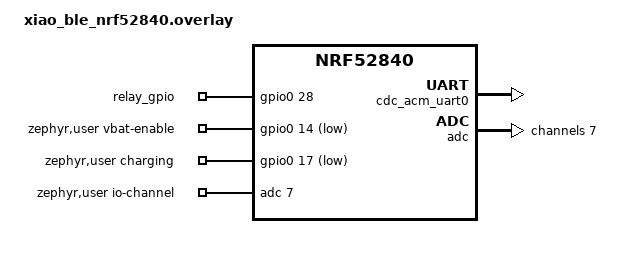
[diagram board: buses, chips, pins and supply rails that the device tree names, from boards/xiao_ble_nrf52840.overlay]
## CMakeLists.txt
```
#
# Copyright (c) 2021 Nordic Semiconductor ASA
#
# SPDX-License-Identifier: LicenseRef-Nordic-5-Clause
#

cmake_minimum_required(VERSION 3.20.0)

# Key shared with the deadbolt, kept out of git: door_link_key.conf holds one line,
# CONFIG_DOOR_LINK_KEY="<64 hex digits>" (README.md, "Buzz + door").
set(DOOR_LINK_KEY_CONF ${CMAKE_CURRENT_LIST_DIR}/door_link_key.conf)
if(NOT EXISTS ${DOOR_LINK_KEY_CONF})
  message(FATAL_ERROR "Missing ${DOOR_LINK_KEY_CONF}: create it with "
    "CONFIG_DOOR_LINK_KEY=\"<64 hex digits>\", the same key as the deadbolt")
endif()
list(APPEND EXTRA_CONF_FILE ${DOOR_LINK_KEY_CONF})

find_package(Zephyr REQUIRED HINTS $ENV{ZEPHYR_BASE})
project(lock)

# Enable GNU STD support.
include(${ZEPHYR_CONNECTEDHOMEIP_MODULE_DIR}/config/nrfconnect/app/enable-gnu-std.cmake)

# NORDIC SDK APP START

# Include all source files that are located in the Matter common directory.
include(${ZEPHYR_NRF_MODULE_DIR}/samples/matter/common/cmake/source_common.cmake)

# Include Data Model utils
include(${ZEPHYR_NRF_MODULE_DIR}/samples/matter/common/cmake/data_model.cmake)

include(${ZEPHYR_NRF_MODULE_DIR}/samples/matter/common/cmake/zap_helpers.cmake)
ncs_get_zap_parent_dir(ZAP_PARENT_DIR)

target_include_directories(app PRIVATE
    src
    ${ZAP_PARENT_DIR}
)

SET(access_srcs src/access/access_data_types.cpp
              src/access/access_manager_credentials.cpp
              src/access/access_manager_users.cpp
              src/access/access_manager.cpp
              src/access/access_storage.cpp
              )

if(CONFIG_LOCK_SCHEDULES)
    LIST(APPEND access_srcs src/access/access_manager_schedules.cpp)
endif()

target_sources(app PRIVATE
    src/app_task.cpp
    src/battery.cpp
    src/bolt_lock_manager.cpp
    src/door_link.cpp
    src/main.cpp
    src/zcl_callbacks.cpp
    ${access_srcs}
)

if(CONFIG_THREAD_WIFI_SWITCHING)
    target_sources(app PRIVATE
        src/thread_wifi_switch.cpp
    )
endif()

# Do not treat warnings as errors while the variable may be uninitialized for this sample data model.
# In the door-lock-server implementation, there is a warning that the C++ "optional"
# variable may be uninitialized, but actually, it is wrongly interpreted by the Zephyr toolchain.
target_compile_options(matter-data-model PRIVATE -Wno-error=maybe-uninitialized)

ncs_configure_data_model()

# NORDIC SDK APP END
```

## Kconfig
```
#
# Copyright (c) 2021 Nordic Semiconductor
#
# SPDX-License-Identifier: LicenseRef-Nordic-5-Clause
#

mainmenu "Matter Lock sample application"

config DOOR_LINK_KEY
	string "Key shared with the deadbolt, 64 hex digits"
	help
	  Signs the "Buzz + door" message. Set in door_link_key.conf, which stays out of git.

config DOOR_LINK_COUNTER_MIN
	int "Lowest message counter"
	default 0
	help
	  The deadbolt refuses a counter it has already seen. If the buzzer's settings are ever
	  erased, set this above the last counter sent.

config LOCK_MAX_NUM_USERS
	int "Maximum number of users supported by the lock"
	default 10

config LOCK_MAX_NUM_CREDENTIALS_PER_USER
	int "Maximum total number of credentials per one user supported by the lock"
	default 4

config LOCK_MAX_NUM_CREDENTIALS_PER_TYPE
	int "Maximum number of credentials of given type supported by the lock"
	default 15

config LOCK_MAX_CREDENTIAL_LENGTH
	int "Maximum length of the single credential supported by the lock"
	default 10

config LOCK_PASS_CREDENTIALS_TO_SET_LOCK_STATE
	bool "Pass used credentials when setting the lock state"
	help
	  This option should stay disabled until TC-DRLK-2.3 is fixed.
	  Related issue: https://github.com/project-chip/connectedhomeip/issues/38222

config LOCK_SCHEDULES
	bool "Support for WeekDay, YearDay and Holiday schedules in lock"
	help
	  This option adds support for an optional Timed Schedule Access Lock feature.
	  You can use Week Day, Year Day and Holiday schedules to restrict access for a
	  specific user for a defined time window. For example, use it to
	  give the user access only for three days in week.

if LOCK_SCHEDULES

config LOCK_MAX_WEEKDAY_SCHEDULES_PER_USER
	int "Maximum number of WeekDay schedules per one user supported by the lock"
	default 5

config LOCK_MAX_YEARDAY_SCHEDULES_PER_USER
	int "Maximum number of YearDay schedules per one user supported by the lock"
	default 5

config LOCK_MAX_HOLIDAY_SCHEDULES
	int "Maximum number of Holiday schedules supported by the lock"
	default 5

endif

config LOCK_ENABLE_DEBUG
	bool "Enable debug features to print users and credentials"
	depends on SHELL
	help
	  Debug features allows to checking and printing current users, their state, and
	  associated credentials. Use these with shell commands combinations to read saved credentials
	  or users, and manage them (add, clear, read).

if LOCK_ENABLE_DEBUG

config LOCK_PRINT_STORAGE_STATUS
	bool "Print storage status after each store call"
	help
	  Debug feature to print the debug-level log that contains information of the entry being stored
	  to persistent storage and how many bytes are left to store the new entry. It can be used to verify
	  whether credential, schedule or user entries are written properly to persistent storage.
	  This option should be disabled in production firmware version.

# This should be determined based on the maximum possible command length that depends on the LOCK_MAX_CREDENTIAL_LENGTH
config SHELL_CMD_BUFF_SIZE
	default 300

endif

# Sample configuration used for Thread networking
if OPENTHREAD

choice OPENTHREAD_NORDIC_LIBRARY_CONFIGURATION
	default OPENTHREAD_NORDIC_LIBRARY_MTD
endchoice

choice OPENTHREAD_DEVICE_TYPE
	default OPENTHREAD_MTD
endchoice

config CHIP_ENABLE_ICD_SUPPORT
	default y

# Reduce Thread TX output power to 0 dBm for SED device
config OPENTHREAD_DEFAULT_TX_POWER
	int
	default 0

endif # OPENTHREAD

config NCS_SAMPLE_MATTER_PERSISTENT_STORAGE
	default y

# PSA SSF Crypto Client is not ready for the secure storage backend
if !PSA_SSF_CRYPTO_CLIENT

config NCS_SAMPLE_MATTER_SECURE_STORAGE_BACKEND
	default y

config NCS_SAMPLE_MATTER_SETTINGS_STORAGE_BACKEND
	default n

endif

# Increase the storage capacity if the schedules are enabled with secure storage
if LOCK_SCHEDULES && NCS_SAMPLE_MATTER_SECURE_STORAGE_BACKEND

config NCS_SAMPLE_MATTER_SECURE_STORAGE_MAX_ENTRY_NUMBER
	default 128

config TRUSTED_STORAGE_BACKEND_AEAD_MAX_DATA_SIZE
	default 3072

config OPENTHREAD_THREAD_STACK_SIZE
	default 7168

config CHIP_TASK_STACK_SIZE
	default 10240

config MAIN_STACK_SIZE
	default 7168

endif

source "${ZEPHYR_CONNECTEDHOMEIP_MODULE_DIR}/config/nrfconnect/chip-module/Kconfig.features"
source "${ZEPHYR_CONNECTEDHOMEIP_MODULE_DIR}/config/nrfconnect/chip-module/Kconfig.defaults"
source "${ZEPHYR_NRF_MODULE_DIR}/samples/matter/common/src/Kconfig"
source "Kconfig.zephyr"
```

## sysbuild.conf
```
SB_CONFIG_MATTER=y
SB_CONFIG_BOOTLOADER_MCUBOOT=n
SB_CONFIG_MATTER_FACTORY_DATA_GENERATE=y
SB_CONFIG_MATTER_OTA=n
```

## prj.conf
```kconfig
#
# Copyright (c) 2022 Nordic Semiconductor ASA
#
# SPDX-License-Identifier: LicenseRef-Nordic-5-Clause
#

# Enable CHIP
CONFIG_CHIP=y
CONFIG_CHIP_PROJECT_CONFIG="src/chip_project_config.h"

# Configure ZAP file name
CONFIG_NCS_SAMPLE_MATTER_ZAP_FILE_PATH="${APPLICATION_CONFIG_DIR}/src/default_zap/lock.zap"

# 32774 == 0x8006 (example lock-app). Registered as a Lock in the Google Home Developer
# Console (needed for test VIDs once the account has a console project).
CONFIG_CHIP_DEVICE_PRODUCT_ID=32774
# Own serial: the default (11223344556677889900) matched the deadbolt lock. Not enough on its
# own: Google Home still merged the two while both used 0x8006 and its stock test DAC, so the
# deadbolt moved to another PID.
CONFIG_CHIP_DEVICE_SERIAL_NUMBER="BUZZER0001"
CONFIG_STD_CPP17=y

# Enable Matter extended announcement and increase duration to 1 hour.
CONFIG_CHIP_BLE_EXT_ADVERTISING=y
CONFIG_CHIP_BLE_ADVERTISING_DURATION=60

# GPIO
CONFIG_GPIO=y

# Battery voltage (src/battery.cpp)
CONFIG_ADC=y
CONFIG_DK_LIBRARY=n

# Bluetooth Low Energy configuration
CONFIG_BT_DEVICE_NAME="MatterLock"

# Suspend devices when the CPU goes into sleep
CONFIG_PM_DEVICE=y

# Other settings
CONFIG_THREAD_NAME=y
CONFIG_MPU_STACK_GUARD=y
CONFIG_RESET_ON_FATAL_ERROR=n
CONFIG_CHIP_LIB_SHELL=y
CONFIG_NCS_SAMPLE_MATTER_TEST_SHELL=y

# Reduce application size
CONFIG_USE_SEGGER_RTT=n
CONFIG_MATTER_LOG_LEVEL_INF=y
CONFIG_CHIP_APP_LOG_LEVEL=3

# Disable unused features
CONFIG_CHIP_FACTORY_DATA=y
CONFIG_CHIP_FACTORY_DATA_BUILD=y
CONFIG_CHIP_NFC_ONBOARDING_PAYLOAD=n
CONFIG_CHIP_BOOTLOADER_NONE=y
CONFIG_CHIP_BLE_EXT_ADVERTISING=n
CONFIG_CHIP_BLE_ADVERTISING_DURATION=15
CONFIG_CHIP_TASK_STACK_SIZE=8192

CONFIG_CHIP_ENABLE_PAIRING_AUTOSTART=y

CONFIG_CHIP_ICD_SLOW_POLL_INTERVAL=1000
CONFIG_CHIP_ICD_FAST_POLLING_INTERVAL=200
CONFIG_CHIP_ICD_ACTIVE_MODE_DURATION=1000
CONFIG_CHIP_ICD_IDLE_MODE_DURATION=300
```

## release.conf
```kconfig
# Added on top of prj.conf for the door-mounted build.
# The debug build stops on a crash so the fault can be read; this one has to come back by itself.
CONFIG_RESET_ON_FATAL_ERROR=y

# Hardware watchdog, fed by the Main and Matter threads.
CONFIG_NCS_SAMPLE_MATTER_WATCHDOG=y
```

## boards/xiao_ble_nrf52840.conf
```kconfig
CONFIG_BUILD_OUTPUT_UF2=y
CONFIG_FLASH=y
CONFIG_GPIO=y
```

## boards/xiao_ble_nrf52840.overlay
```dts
#include <zephyr/dt-bindings/adc/adc.h>
#include <zephyr/dt-bindings/adc/nrf-saadc.h>

/ {
    chosen {
        zephyr,console = &cdc_acm_uart0;
        zephyr,shell-uart = &cdc_acm_uart0;
    };

    buttons {
        compatible = "gpio-keys";
    };

    relay_out: relay-output {
        compatible = "gpio-leds";
        relay_gpio: relay_gpio {
            gpios = <&gpio0 28 GPIO_ACTIVE_HIGH>;
        };
    };
};

&zephyr_udc0 {
    cdc_acm_uart0: cdc_acm_uart0 {
        compatible = "zephyr,cdc-acm-uart";
    };
};

/* Unused (console and shell are on USB CDC), but the board enables it: with the shell's
 * interrupt-driven UART mode its driver starts the receiver at boot and nothing stops it,
 * keeping the HF clock on (~0.5-1 mA; a 620 mAh charge lasted about a month).
 */
&uart0 {
    status = "disabled";
};
/* Battery voltage: VBAT -> 1M -> P0.31 (AIN7) -> 510k -> P0.14. P0.14 is held low for good (the
 * divider then draws ~2.7 uA): high or floating, it would put VBAT on P0.31 through the 1M.
 * P0.17 is the charger's CHG output, low while charging.
 */
/ {
    zephyr,user {
        io-channels = <&adc 7>;
        vbat-enable-gpios = <&gpio0 14 GPIO_ACTIVE_LOW>;
        charging-gpios = <&gpio0 17 (GPIO_ACTIVE_LOW | GPIO_PULL_UP)>;
    };
};

&adc {
    #address-cells = <1>;
    #size-cells = <0>;

    channel@7 {
        reg = <7>;
        zephyr,gain = "ADC_GAIN_1_6";
        zephyr,reference = "ADC_REF_INTERNAL";
        /* The divider's 340k source impedance needs the 40 us acquisition time */
        zephyr,acquisition-time = <ADC_ACQ_TIME(ADC_ACQ_TIME_MICROSECONDS, 40)>;
        zephyr,input-positive = <NRF_SAADC_AIN7>;
        zephyr,resolution = <12>;
        zephyr,oversampling = <4>;
    };
};
```

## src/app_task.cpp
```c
/*
 * Copyright (c) 2021 Nordic Semiconductor ASA
 *
 * SPDX-License-Identifier: LicenseRef-Nordic-5-Clause
 */

#include "app_task.h"
#include "battery.h"
#include "bolt_lock_manager.h"
#include "door_link.h"

#include "app/matter_init.h"
#include "app/task_executor.h"

#ifdef CONFIG_CHIP_NUS
#include "bt_nus/bt_nus_service.h"
#endif

#include <app-common/zap-generated/attributes/Accessors.h>
#include <app/clusters/door-lock-server/door-lock-server.h>
#include <app/clusters/identify-server/identify-server.h>
#include <platform/CHIPDeviceLayer.h>
#include <setup_payload/OnboardingCodesUtil.h>

#include <zephyr/drivers/gpio.h>
#include <zephyr/kernel.h>
#include <zephyr/logging/log.h>

LOG_MODULE_DECLARE(app, CONFIG_CHIP_APP_LOG_LEVEL);

static const struct gpio_dt_spec sRelayGpio = GPIO_DT_SPEC_GET(DT_NODELABEL(relay_gpio), gpios);
static struct k_work_delayable sRelayOffWork;

static void RelayOffHandler(struct k_work *)
{
	gpio_pin_set_dt(&sRelayGpio, 0);
	LOG_INF("Relay off");
	BoltLockMgr().Lock(BoltLockManager::OperationSource::kUnspecified);
}

using namespace ::chip;
using namespace ::chip::app;
using namespace ::chip::DeviceLayer;

namespace
{
constexpr EndpointId kLockEndpointId = BoltLockManager::kBuzzEndpointId;

#ifdef CONFIG_CHIP_NUS
constexpr uint16_t kAdvertisingIntervalMin = 400;
constexpr uint16_t kAdvertisingIntervalMax = 500;
constexpr uint8_t kLockNUSPriority = 2;
#endif

#ifndef CONFIG_CHIP_FACTORY_RESET_ERASE_SETTINGS
void AppFactoryResetHandler(const ChipDeviceEvent *event, intptr_t /* unused */)
{
	switch (event->Type) {
	case DeviceEventType::kFactoryReset:
		BoltLockMgr().FactoryReset();
		break;
	default:
		break;
	}
}
#endif

} /* namespace */

Identify sIdentify = { kLockEndpointId, AppTask::IdentifyStartHandler, AppTask::IdentifyStopHandler,
		       Clusters::Identify::IdentifyTypeEnum::kVisibleIndicator };
Identify sIdentifyBuzzDoor = { BoltLockManager::kBuzzDoorEndpointId, AppTask::IdentifyStartHandler,
			       AppTask::IdentifyStopHandler, Clusters::Identify::IdentifyTypeEnum::kVisibleIndicator };

void AppTask::IdentifyStartHandler(Identify *)
{
	/* No LED available */
}

void AppTask::IdentifyStopHandler(Identify *)
{
	/* No LED available */
}

void AppTask::LockStateChanged(const BoltLockManager::StateData &stateData)
{
	switch (stateData.mState) {
	case BoltLockManager::State::kLockingInitiated:
		LOG_INF("Lock action initiated");
#ifdef CONFIG_CHIP_NUS
		Nrf::GetNUSService().SendData("locking", sizeof("locking"));
#endif
		break;
	case BoltLockManager::State::kLockingCompleted:
		LOG_INF("Lock action completed");
#ifdef CONFIG_CHIP_NUS
		Nrf::GetNUSService().SendData("locked", sizeof("locked"));
#endif
		break;
	case BoltLockManager::State::kUnlockingInitiated:
		LOG_INF("Unlock action initiated");
		if (stateData.mEndpoint == BoltLockManager::kBuzzDoorEndpointId) {
			DoorLink::SendUnlock();
		}
#ifdef CONFIG_CHIP_NUS
		Nrf::GetNUSService().SendData("unlocking", sizeof("unlocking"));
#endif
		break;
	case BoltLockManager::State::kUnlockingCompleted:
		LOG_INF("Unlock action completed");
		gpio_pin_set_dt(&sRelayGpio, 1);
		LOG_INF("Relay on");
		Battery::NoteLoad();
		k_work_schedule(&sRelayOffWork, K_SECONDS(2));
#ifdef CONFIG_CHIP_NUS
		Nrf::GetNUSService().SendData("unlocked", sizeof("unlocked"));
#endif
		break;
	}

	/* Handle changing attribute state in the application */
	Instance().UpdateClusterState(stateData);
}

void AppTask::UpdateClusterState(const BoltLockManager::StateData &stateData)
{
	BoltLockManager::StateData *stateDataCopy = Platform::New<BoltLockManager::StateData>(stateData);

	if (stateDataCopy == nullptr) {
		LOG_ERR("Failed to allocate memory for BoltLockManager::StateData");
		return;
	}

	CHIP_ERROR err = SystemLayer().ScheduleLambda([stateDataCopy]() {
		UpdateClusterStateHandler(*stateDataCopy);
		Platform::Delete(stateDataCopy);
	});

	if (err != CHIP_NO_ERROR) {
		LOG_ERR("Failed to schedule lambda: %" CHIP_ERROR_FORMAT, err.Format());
		Platform::Delete(stateDataCopy);
	}
}

void AppTask::UpdateClusterStateHandler(const BoltLockManager::StateData &stateData)
{
	using namespace chip::app::Clusters::DoorLock::Attributes;

	DlLockState newLockState;

	switch (stateData.mState) {
	case BoltLockManager::State::kLockingCompleted:
		newLockState = DlLockState::kLocked;
		break;
	case BoltLockManager::State::kUnlockingCompleted:
		newLockState = DlLockState::kUnlocked;
		break;
	default:
		newLockState = DlLockState::kNotFullyLocked;
		break;
	}

	Nullable<DlLockState> currentLockState;
	LockState::Get(stateData.mEndpoint, currentLockState);

	if (currentLockState.IsNull()) {
		LockState::Set(stateData.mEndpoint, newLockState);
	} else {
		LOG_INF("Updating LockState attribute");

		Nullable<uint16_t> userId;
		Nullable<List<const LockOpCredentials>> credentials;
#ifdef CONFIG_LOCK_PASS_CREDENTIALS_TO_SET_LOCK_STATE
		List<const LockOpCredentials> credentialList;
#endif

		if (!stateData.mValidatePINResult.IsNull()) {
			userId = { stateData.mValidatePINResult.Value().mUserId };

#ifdef CONFIG_LOCK_PASS_CREDENTIALS_TO_SET_LOCK_STATE
			credentialList = { &stateData.mValidatePINResult.Value().mCredential, 1 };
			credentials = { credentialList };
#endif
		}

		if (!DoorLockServer::Instance().SetLockState(stateData.mEndpoint, newLockState, stateData.mSource,
							     userId, credentials, stateData.mFabricIdx,
							     stateData.mNodeId)) {
			LOG_ERR("Failed to update LockState attribute");
		}
	}
}

#ifdef CONFIG_CHIP_NUS
void AppTask::NUSLockCallback(void *context)
{
	LOG_DBG("Received LOCK command from NUS");
	if (BoltLockMgr().GetState().mState == BoltLockManager::State::kLockingCompleted ||
	    BoltLockMgr().GetState().mState == BoltLockManager::State::kLockingInitiated) {
		LOG_INF("Device is already locked");
	}
}

void AppTask::NUSUnlockCallback(void *context)
{
	LOG_DBG("Received UNLOCK command from NUS");
	if (BoltLockMgr().GetState().mState == BoltLockManager::State::kUnlockingCompleted ||
	    BoltLockMgr().GetState().mState == BoltLockManager::State::kUnlockingInitiated) {
		LOG_INF("Device is already unlocked");
	}
}
#endif

#ifdef CONFIG_NCS_SAMPLE_MATTER_TEST_EVENT_TRIGGERS
CHIP_ERROR AppTask::DoorLockJammedEventCallback(Nrf::Matter::TestEventTrigger::TriggerValue)
{
	VerifyOrReturnError(DoorLockServer::Instance().SendLockAlarmEvent(kLockEndpointId, AlarmCodeEnum::kLockJammed),
			    CHIP_ERROR_INTERNAL);
	LOG_ERR("Event Trigger: Doorlock jammed.");
	return CHIP_NO_ERROR;
}
#endif

CHIP_ERROR AppTask::Init()
{
	/* Initialize Matter stack */
	ReturnErrorOnFailure(Nrf::Matter::PrepareServer());

#ifndef CONFIG_CHIP_FACTORY_RESET_ERASE_SETTINGS
	ReturnErrorOnFailure(Nrf::Matter::RegisterEventHandler(AppFactoryResetHandler, 0));
#endif

#ifdef CONFIG_CHIP_NUS
	if (!Nrf::GetNUSService().Init(kLockNUSPriority, kAdvertisingIntervalMin, kAdvertisingIntervalMax)) {
		ChipLogError(Zcl, "Cannot initialize NUS service");
	}
	Nrf::GetNUSService().RegisterCommand("Lock", sizeof("Lock"), NUSLockCallback, nullptr);
	Nrf::GetNUSService().RegisterCommand("Unlock", sizeof("Unlock"), NUSUnlockCallback, nullptr);
	if (!Nrf::GetNUSService().StartServer()) {
		LOG_ERR("GetNUSService().StartServer() failed");
	}
#endif

	/* Initialize relay GPIO */
	if (!gpio_is_ready_dt(&sRelayGpio)) {
		LOG_ERR("Relay GPIO not ready");
		return CHIP_ERROR_INTERNAL;
	}
	if (gpio_pin_configure_dt(&sRelayGpio, GPIO_OUTPUT_INACTIVE) < 0) {
		LOG_ERR("Failed to configure relay GPIO");
		return CHIP_ERROR_INTERNAL;
	}
	k_work_init_delayable(&sRelayOffWork, RelayOffHandler);

	/* Initialize lock manager */
	BoltLockMgr().Init(LockStateChanged);

	Battery::Init();

#ifdef CONFIG_NCS_SAMPLE_MATTER_TEST_EVENT_TRIGGERS
	ReturnErrorOnFailure(Nrf::Matter::TestEventTrigger::Instance().RegisterTestEventTrigger(
		kDoorLockJammedEventTriggerId,
		Nrf::Matter::TestEventTrigger::EventTrigger{ 0, DoorLockJammedEventCallback }));
#endif

	ReturnErrorOnFailure(Nrf::Matter::StartServer());

	/* The Thread stack only exists from here on. */
	DoorLink::Init();

	return CHIP_NO_ERROR;
}

CHIP_ERROR AppTask::StartApp()
{
	ReturnErrorOnFailure(Init());

	while (true) {
		Nrf::DispatchNextTask();
	}

	return CHIP_NO_ERROR;
}
```

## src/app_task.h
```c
/*
 * Copyright (c) 2021 Nordic Semiconductor ASA
 *
 * SPDX-License-Identifier: LicenseRef-Nordic-5-Clause
 */

#pragma once

#include "bolt_lock_manager.h"

struct k_timer;
struct Identify;

#ifdef CONFIG_NCS_SAMPLE_MATTER_TEST_EVENT_TRIGGERS
#include "event_triggers/event_triggers.h"
#endif

class AppTask {
public:
	static AppTask &Instance()
	{
		static AppTask sAppTask;
		return sAppTask;
	};

	CHIP_ERROR StartApp();

	void UpdateClusterState(const BoltLockManager::StateData &stateData);
	static void IdentifyStartHandler(Identify *);
	static void IdentifyStopHandler(Identify *);

private:
	CHIP_ERROR Init();

	static void LockStateChanged(const BoltLockManager::StateData &stateData);
	static void UpdateClusterStateHandler(const BoltLockManager::StateData &stateData);

#ifdef CONFIG_CHIP_NUS
	static void NUSLockCallback(void *context);
	static void NUSUnlockCallback(void *context);
#endif

#ifdef CONFIG_NCS_SAMPLE_MATTER_TEST_EVENT_TRIGGERS
	constexpr static Nrf::Matter::TestEventTrigger::EventTriggerId kDoorLockJammedEventTriggerId =
		0xFFFF'FFFF'3277'4000;
	static CHIP_ERROR DoorLockJammedEventCallback(Nrf::Matter::TestEventTrigger::TriggerValue);
#endif
};
```

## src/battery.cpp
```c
/*
 * Battery level: the SAADC reads VBAT through the XIAO's 1M/510k divider, a LiPo discharge
 * curve turns the voltage into a percentage, and the result goes to the Matter Power Source
 * cluster on the lock endpoint.
 */

#include "battery.h"

#include <app-common/zap-generated/attributes/Accessors.h>
#include <app/clusters/power-source-server/power-source-server.h>
#include <platform/CHIPDeviceLayer.h>

#include <zephyr/drivers/adc.h>
#include <zephyr/drivers/gpio.h>
#include <zephyr/kernel.h>
#include <zephyr/logging/log.h>

LOG_MODULE_DECLARE(app, CONFIG_CHIP_APP_LOG_LEVEL);

using namespace ::chip;
using namespace ::chip::app::Clusters;
using namespace ::chip::DeviceLayer;

namespace
{
constexpr EndpointId kPowerSourceEndpointId = 1;

/* Divider: VBAT -> 1M -> AIN7 -> 510k -> GND (P0.14) */
constexpr int32_t kDividerFullOhms = 1510;
constexpr int32_t kDividerOutputOhms = 510;

constexpr uint32_t kUpdateIntervalS = 600;
/* After the relay coil (~120 mA for 2 s) lets go, the cell takes a moment to recover */
constexpr uint32_t kLoadSettleS = 10;

/* BatChargeLevel thresholds, % */
constexpr uint8_t kWarningPercent = 20;
constexpr uint8_t kCriticalPercent = 10;

/* Every attribute change is a report to Home, and a report wakes the SED's radio: send only
 * changes this large.
 */
constexpr uint32_t kVoltageReportStepMv = 50;
constexpr uint8_t kPercent2xReportStep = 4;

/* Resting LiPo voltage, mV -> % remaining; a generic single-cell curve, not a profile of this
 * cell.
 */
struct CurvePoint {
	int32_t mv;
	int32_t percent;
};
constexpr CurvePoint kCurve[] = {
	{ 4200, 100 }, { 4100, 90 }, { 4000, 80 }, { 3920, 70 }, { 3870, 60 }, { 3820, 50 },
	{ 3790, 40 },  { 3770, 30 }, { 3740, 20 }, { 3680, 10 }, { 3450, 5 },  { 3300, 0 },
};

const struct adc_dt_spec sAdc = ADC_DT_SPEC_GET_BY_IDX(DT_PATH(zephyr_user), 0);
const struct gpio_dt_spec sEnable = GPIO_DT_SPEC_GET(DT_PATH(zephyr_user), vbat_enable_gpios);
const struct gpio_dt_spec sCharging = GPIO_DT_SPEC_GET(DT_PATH(zephyr_user), charging_gpios);

struct k_work_delayable sUpdateWork;

int32_t PercentFromMv(int32_t mv)
{
	if (mv >= kCurve[0].mv) {
		return 100;
	}
	for (size_t i = 1; i < ARRAY_SIZE(kCurve); i++) {
		const CurvePoint &hi = kCurve[i - 1];
		const CurvePoint &lo = kCurve[i];

		if (mv >= lo.mv) {
			return lo.percent + (mv - lo.mv) * (hi.percent - lo.percent) / (hi.mv - lo.mv);
		}
	}
	return 0;
}

int ReadMv(int32_t &mv)
{
	int16_t raw;
	struct adc_sequence seq = {
		.buffer = &raw,
		.buffer_size = sizeof(raw),
	};
	int ret = adc_sequence_init_dt(&sAdc, &seq);

	if (ret == 0) {
		ret = adc_read_dt(&sAdc, &seq);
	}
	if (ret < 0) {
		return ret;
	}

	mv = raw;
	ret = adc_raw_to_millivolts_dt(&sAdc, &mv);
	if (ret < 0) {
		return ret;
	}
	mv = mv * kDividerFullOhms / kDividerOutputOhms;
	return 0;
}

/* Runs on the Matter thread. Only changed values are written, see kVoltageReportStepMv. */
void Publish(uint8_t percent2x, uint32_t mv, PowerSource::BatChargeLevelEnum level,
	     PowerSource::BatChargeStateEnum chgState)
{
	using namespace PowerSource::Attributes;

	static bool sPublished;
	static uint8_t sPercent2x;
	static uint32_t sMv;
	static PowerSource::BatChargeLevelEnum sLevel;
	static PowerSource::BatChargeStateEnum sChgState;

	if (!sPublished || (percent2x > sPercent2x ? percent2x - sPercent2x : sPercent2x - percent2x) >=
				   kPercent2xReportStep) {
		BatPercentRemaining::Set(kPowerSourceEndpointId, percent2x);
		sPercent2x = percent2x;
	}
	if (!sPublished || (mv > sMv ? mv - sMv : sMv - mv) >= kVoltageReportStepMv) {
		BatVoltage::Set(kPowerSourceEndpointId, mv);
		sMv = mv;
	}
	if (!sPublished || level != sLevel) {
		BatChargeLevel::Set(kPowerSourceEndpointId, level);
		sLevel = level;
	}
	if (!sPublished || chgState != sChgState) {
		BatChargeState::Set(kPowerSourceEndpointId, chgState);
		sChgState = chgState;
	}
	sPublished = true;
}

void Update(struct k_work *)
{
	int32_t mv;
	int ret = ReadMv(mv);

	k_work_reschedule(&sUpdateWork, K_SECONDS(kUpdateIntervalS));
	if (ret < 0) {
		LOG_ERR("Battery read failed: %d", ret);
		return;
	}

	const bool charging = gpio_pin_get_dt(&sCharging) == 1;
	const int32_t percent = PercentFromMv(mv);
	const uint8_t percent2x = static_cast<uint8_t>(percent * 2);
	const auto level = percent < kCriticalPercent ? PowerSource::BatChargeLevelEnum::kCritical :
			   percent < kWarningPercent  ? PowerSource::BatChargeLevelEnum::kWarning :
							PowerSource::BatChargeLevelEnum::kOk;
	const auto chgState =
		charging ? PowerSource::BatChargeStateEnum::kIsCharging : PowerSource::BatChargeStateEnum::kIsNotCharging;

	LOG_INF("Battery %d mV, %d %%%s", mv, percent, charging ? ", charging" : "");

	CHIP_ERROR err = SystemLayer().ScheduleLambda([percent2x, mv, level, chgState] {
		Publish(percent2x, static_cast<uint32_t>(mv), level, chgState);
	});

	if (err != CHIP_NO_ERROR) {
		LOG_ERR("Failed to schedule the battery report: %" CHIP_ERROR_FORMAT, err.Format());
	}
}
} /* namespace */

namespace Battery
{

int Init()
{
	if (!adc_is_ready_dt(&sAdc) || !gpio_is_ready_dt(&sEnable) || !gpio_is_ready_dt(&sCharging)) {
		LOG_ERR("Battery ADC or GPIO not ready");
		return -ENODEV;
	}

	/* Active = P0.14 low, see the board overlay */
	int ret = gpio_pin_configure_dt(&sEnable, GPIO_OUTPUT_ACTIVE);

	if (ret == 0) {
		ret = gpio_pin_configure_dt(&sCharging, GPIO_INPUT);
	}
	if (ret == 0) {
		ret = adc_channel_setup_dt(&sAdc);
	}
	if (ret < 0) {
		LOG_ERR("Battery setup failed: %d", ret);
		return ret;
	}

	/* The battery powers the whole node */
	SystemLayer().ScheduleLambda([] {
		EndpointId endpoints[] = { 0, kPowerSourceEndpointId };
		CHIP_ERROR err = PowerSourceServer::Instance().SetEndpointList(kPowerSourceEndpointId,
										  Span<EndpointId>(endpoints));

		if (err != CHIP_NO_ERROR) {
			LOG_ERR("Power Source endpoint list not set: %" CHIP_ERROR_FORMAT, err.Format());
		}
	});

	k_work_init_delayable(&sUpdateWork, Update);
	k_work_schedule(&sUpdateWork, K_NO_WAIT);
	return 0;
}

void NoteLoad()
{
	/* Once the relay's 2 s pulse is over and the cell has recovered */
	k_work_reschedule(&sUpdateWork, K_SECONDS(2 + kLoadSettleS));
}

} /* namespace Battery */
```

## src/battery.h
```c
/*
 * Battery level from the XIAO's VBAT divider, reported through the Matter Power Source cluster
 * (lock endpoint).
 */

#pragma once

namespace Battery
{

/* Needs the Matter stack initialized (after Nrf::Matter::PrepareServer). A failure is logged and
 * leaves the buzzer running without battery reports.
 */
int Init();

/* The relay coil is drawing current and sags the battery: measure later. */
void NoteLoad();

} /* namespace Battery */
```

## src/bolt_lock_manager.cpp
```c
/*
 * Copyright (c) 2021 Nordic Semiconductor ASA
 *
 * SPDX-License-Identifier: LicenseRef-Nordic-5-Clause
 */

#include "bolt_lock_manager.h"
#include "app/task_executor.h"

#include "app_task.h"

using namespace chip;

BoltLockManager BoltLockManager::sLock;

void BoltLockManager::Init(StateChangeCallback callback)
{
	mStateChangeCallback = callback;

	k_timer_init(&mActuatorTimer, &BoltLockManager::ActuatorTimerEventHandler, nullptr);
	k_timer_user_data_set(&mActuatorTimer, this);

	AccessMgr::Instance().Init();
}

bool BoltLockManager::GetUser(uint16_t userIndex, EmberAfPluginDoorLockUserInfo &user)
{
	return AccessMgr::Instance().GetUserInfo(userIndex, user);
}

bool BoltLockManager::SetUser(uint16_t userIndex, FabricIndex creator, FabricIndex modifier, const CharSpan &userName,
			      uint32_t uniqueId, UserStatusEnum userStatus, UserTypeEnum userType,
			      CredentialRuleEnum credentialRule, const CredentialStruct *credentials,
			      size_t totalCredentials)
{
	return AccessMgr::Instance().SetUser(userIndex, creator, modifier, userName, uniqueId, userStatus, userType,
					     credentialRule, credentials, totalCredentials);
}

bool BoltLockManager::GetCredential(uint16_t credentialIndex, CredentialTypeEnum credentialType,
				    EmberAfPluginDoorLockCredentialInfo &credential)
{
	return AccessMgr::Instance().GetCredential(credentialIndex, credentialType, credential);
}

bool BoltLockManager::SetCredential(uint16_t credentialIndex, FabricIndex creator, FabricIndex modifier,
				    DlCredentialStatus credentialStatus, CredentialTypeEnum credentialType,
				    const ByteSpan &secret)
{
	return AccessMgr::Instance().SetCredential(credentialIndex, creator, modifier, credentialStatus, credentialType,
						   secret);
}

#ifdef CONFIG_LOCK_SCHEDULES

DlStatus BoltLockManager::GetWeekDaySchedule(uint8_t weekdayIndex, uint16_t userIndex,
					     EmberAfPluginDoorLockWeekDaySchedule &schedule)
{
	return AccessMgr::Instance().GetWeekDaySchedule(weekdayIndex, userIndex, schedule);
}

DlStatus BoltLockManager::SetWeekDaySchedule(uint8_t weekdayIndex, uint16_t userIndex, DlScheduleStatus status,
					     DaysMaskMap daysMask, uint8_t startHour, uint8_t startMinute,
					     uint8_t endHour, uint8_t endMinute)
{
	return AccessMgr::Instance().SetWeekDaySchedule(weekdayIndex, userIndex, status, daysMask, startHour,
							startMinute, endHour, endMinute);
}

DlStatus BoltLockManager::GetYearDaySchedule(uint8_t yearDayIndex, uint16_t userIndex,
					     EmberAfPluginDoorLockYearDaySchedule &schedule)
{
	return AccessMgr::Instance().GetYearDaySchedule(yearDayIndex, userIndex, schedule);
}

DlStatus BoltLockManager::SetYearDaySchedule(uint8_t yeardayIndex, uint16_t userIndex, DlScheduleStatus status,
					     uint32_t localStartTime, uint32_t localEndTime)
{
	return AccessMgr::Instance().SetYearDaySchedule(yeardayIndex, userIndex, status, localStartTime, localEndTime);
}

DlStatus BoltLockManager::GetHolidaySchedule(uint8_t holidayIndex, EmberAfPluginDoorLockHolidaySchedule &schedule)
{
	return AccessMgr::Instance().GetHolidaySchedule(holidayIndex, schedule);
}

DlStatus BoltLockManager::SetHolidaySchedule(uint8_t holidayIndex, DlScheduleStatus status, uint32_t localStartTime,
					     uint32_t localEndTime, OperatingModeEnum operatingMode)
{
	return AccessMgr::Instance().SetHolidaySchedule(holidayIndex, status, localStartTime, localEndTime,
							operatingMode);
}

#endif /* CONFIG_LOCK_SCHEDULES */

bool BoltLockManager::ValidatePIN(const Optional<chip::ByteSpan> &pinCode, OperationErrorEnum &err,
				  Nullable<ValidatePINResult> &result)
{
	return AccessMgr::Instance().ValidatePIN(pinCode, err, result);
}

void BoltLockManager::SetRequirePIN(bool require)
{
	return AccessMgr::Instance().SetRequirePIN(require);
}

bool BoltLockManager::GetRequirePIN()
{
	return AccessMgr::Instance().GetRequirePIN();
}

void BoltLockManager::Lock(const OperationSource source, const Nullable<chip::FabricIndex> &fabricIdx,
			   const Nullable<chip::NodeId> &nodeId, const Nullable<ValidatePINResult> &validatePINResult)
{
	VerifyOrReturn(mStateData.mState != State::kLockingCompleted);
	StateData newStateData{ State::kLockingInitiated, source, fabricIdx, nodeId, validatePINResult,
				mStateData.mEndpoint };
	SetStateData(newStateData);

	k_timer_start(&mActuatorTimer, K_MSEC(kActuatorMovementTimeMs), K_NO_WAIT);
}

void BoltLockManager::Unlock(chip::EndpointId endpoint, const OperationSource source,
			     const Nullable<chip::FabricIndex> &fabricIdx, const Nullable<chip::NodeId> &nodeId,
			     const Nullable<ValidatePINResult> &validatePINResult)
{
	VerifyOrReturn(mStateData.mState != State::kUnlockingCompleted);
	StateData newStateData{ State::kUnlockingInitiated, source, fabricIdx, nodeId, validatePINResult, endpoint };
	SetStateData(newStateData);

	k_timer_start(&mActuatorTimer, K_MSEC(kActuatorMovementTimeMs), K_NO_WAIT);
}

void BoltLockManager::ActuatorTimerEventHandler(k_timer *timer)
{
	BoltLockManagerEvent event;
	event.manager = static_cast<BoltLockManager *>(k_timer_user_data_get(timer));
	Nrf::PostTask([event] { ActuatorAppEventHandler(event); });
}

void BoltLockManager::ActuatorAppEventHandler(const BoltLockManagerEvent &event)
{
	BoltLockManager *lock = reinterpret_cast<BoltLockManager *>(event.manager);

	switch (lock->mStateData.mState) {
	case State::kLockingInitiated:
		lock->SetState(State::kLockingCompleted);
		break;
	case State::kUnlockingInitiated:
		lock->SetState(State::kUnlockingCompleted);
		break;
	default:
		break;
	}
}

void BoltLockManager::SetState(State state)
{
	mStateData.mState = state;

	if (mStateChangeCallback != nullptr) {
		mStateChangeCallback(mStateData);
	}
}

void BoltLockManager::SetStateData(const StateData &stateData)
{
	mStateData = stateData;

	if (mStateChangeCallback != nullptr) {
		mStateChangeCallback(mStateData);
	}
}

void BoltLockManager::FactoryReset()
{
	AccessMgr::Instance().FactoryReset();
}
```

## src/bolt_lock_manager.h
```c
/*
 * Copyright (c) 2021 Nordic Semiconductor ASA
 *
 * SPDX-License-Identifier: LicenseRef-Nordic-5-Clause
 */

#pragma once

#include "access/access_manager.h"

#include <app/clusters/door-lock-server/door-lock-server.h>
#include <lib/core/ClusterEnums.h>

#include <zephyr/kernel.h>

#include <cstdint>

struct BoltLockManagerEvent;

class BoltLockManager {
	using AccessMgr = AccessManager<DoorLockData::PIN>;

public:
	static constexpr size_t kMaxCredentialLength = 128;

	/* Two door locks on one relay: the plain buzz, and "Buzz + door", which also unlocks the
	 * apartment deadbolt.
	 */
	static constexpr chip::EndpointId kBuzzEndpointId = 1;
	static constexpr chip::EndpointId kBuzzDoorEndpointId = 2;

	enum class State : uint8_t {
		kLockingInitiated = 0,
		kLockingCompleted,
		kUnlockingInitiated,
		kUnlockingCompleted,
	};

	struct UserData {
		char mName[DOOR_LOCK_USER_NAME_BUFFER_SIZE];
		CredentialStruct mCredentials[CONFIG_LOCK_MAX_NUM_CREDENTIALS_PER_USER];
	};

	struct CredentialData {
		chip::Platform::ScopedMemoryBuffer<uint8_t> mSecret;
	};

	using OperationSource = chip::app::Clusters::DoorLock::OperationSourceEnum;
	using ValidatePINResult = AccessMgr::ValidatePINResult;

	struct StateData {
		State mState;
		OperationSource mSource;
		Nullable<chip::FabricIndex> mFabricIdx;
		Nullable<chip::NodeId> mNodeId;
		Nullable<ValidatePINResult> mValidatePINResult;
		chip::EndpointId mEndpoint = kBuzzEndpointId;
	};

	using StateChangeCallback = void (*)(const StateData &);

	static constexpr uint32_t kActuatorMovementTimeMs = 2000;

	void Init(StateChangeCallback callback);

	const StateData &GetState() const { return mStateData; }
	bool IsLocked() const { return mStateData.mState == State::kLockingCompleted; }
	/* One relay: a buzz cycle on one endpoint keeps the other out until it has relocked. */
	bool IsBusyOnOtherEndpoint(chip::EndpointId endpoint) const
	{
		return !IsLocked() && mStateData.mEndpoint != endpoint;
	}

	bool GetUser(uint16_t userIndex, EmberAfPluginDoorLockUserInfo &user);
	bool SetUser(uint16_t userIndex, chip::FabricIndex creator, chip::FabricIndex modifier,
		     const chip::CharSpan &userName, uint32_t uniqueId, UserStatusEnum userStatus,
		     UserTypeEnum userType, CredentialRuleEnum credentialRule, const CredentialStruct *credentials,
		     size_t totalCredentials);

	bool GetCredential(uint16_t credentialIndex, CredentialTypeEnum credentialType,
			   EmberAfPluginDoorLockCredentialInfo &credential);
	bool SetCredential(uint16_t credentialIndex, chip::FabricIndex creator, chip::FabricIndex modifier,
			   DlCredentialStatus credentialStatus, CredentialTypeEnum credentialType,
			   const chip::ByteSpan &secret);

#ifdef CONFIG_LOCK_SCHEDULES
	DlStatus GetWeekDaySchedule(uint8_t weekdayIndex, uint16_t userIndex,
				    EmberAfPluginDoorLockWeekDaySchedule &schedule);
	DlStatus SetWeekDaySchedule(uint8_t weekdayIndex, uint16_t userIndex, DlScheduleStatus status,
				    DaysMaskMap daysMask, uint8_t startHour, uint8_t startMinute, uint8_t endHour,
				    uint8_t endMinute);
	DlStatus GetYearDaySchedule(uint8_t yearDayIndex, uint16_t userIndex,
				    EmberAfPluginDoorLockYearDaySchedule &schedule);
	DlStatus SetYearDaySchedule(uint8_t yearDayIndex, uint16_t userIndex, DlScheduleStatus status,
				    uint32_t localStartTime, uint32_t localEndTime);
	DlStatus GetHolidaySchedule(uint8_t holidayIndex, EmberAfPluginDoorLockHolidaySchedule &schedule);
	DlStatus SetHolidaySchedule(uint8_t holidayIndex, DlScheduleStatus status, uint32_t localStartTime,
				    uint32_t localEndTime, OperatingModeEnum operatingMode);
#endif /* CONFIG_LOCK_SCHEDULES */

	bool ValidatePIN(const Optional<chip::ByteSpan> &pinCode, OperationErrorEnum &err,
			 Nullable<ValidatePINResult> &result);

	void Lock(const OperationSource source, const Nullable<chip::FabricIndex> &fabricIdx = NullNullable,
		  const Nullable<chip::NodeId> &nodeId = NullNullable,
		  const Nullable<ValidatePINResult> &validatePINResult = NullNullable);
	void Unlock(chip::EndpointId endpoint, const OperationSource source,
		    const Nullable<chip::FabricIndex> &fabricIdx = NullNullable,
		    const Nullable<chip::NodeId> &nodeId = NullNullable,
		    const Nullable<ValidatePINResult> &validatePINResult = NullNullable);

	void SetRequirePIN(bool require);
	bool GetRequirePIN();

	void FactoryReset();

private:
	friend class AppTask;

	void SetState(State state);
	void SetStateData(const StateData &stateData);

	static void ActuatorTimerEventHandler(k_timer *timer);
	static void ActuatorAppEventHandler(const BoltLockManagerEvent &event);
	friend BoltLockManager &BoltLockMgr();

	StateData mStateData = { State::kLockingCompleted, OperationSource::kButton, {}, {}, {} };
	StateChangeCallback mStateChangeCallback = nullptr;
	k_timer mActuatorTimer = {};

	static BoltLockManager sLock;
};

inline BoltLockManager &BoltLockMgr()
{
	return BoltLockManager::sLock;
}

struct BoltLockManagerEvent {
	BoltLockManager *manager;
};
```

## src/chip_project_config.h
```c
/*
 * Copyright (c) 2021 Nordic Semiconductor ASA
 *
 * SPDX-License-Identifier: LicenseRef-Nordic-5-Clause
 */

/**
 *    @file
 *          Example project configuration file for CHIP.
 *
 *          This is a place to put application or project-specific overrides
 *          to the default configuration values for general CHIP features.
 *
 */

#pragma once

#ifdef CONFIG_THREAD_WIFI_SWITCHING
/*
 * Reduce the code size by disabling ZCL progress level logs.
 * Door Lock cluster logs are extremely verbose and significantly increase the code size.
 */
#define CHIP_CONFIG_LOG_MODULE_Zcl_PROGRESS 0

/* Do not automatically register Thread Network Commissioning instance. */
#define _NO_NETWORK_COMMISSIONING_DRIVER_
#endif
#ifndef CONFIG_UPDATEABLE_IMAGE_NUMBER
#define CONFIG_UPDATEABLE_IMAGE_NUMBER 1
#endif
```

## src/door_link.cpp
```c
/*
 * Message: "BZD1", a big-endian 32-bit counter, then the first 16 bytes of HMAC-SHA256 over those
 * 8 bytes, keyed with CONFIG_DOOR_LINK_KEY. The deadbolt only accepts a counter higher than the
 * last one it saw, so a captured message can't be replayed.
 *
 * It goes to the Realm-Local All Thread Nodes address, the multicast a parent queues for its
 * sleepy children (plain ff03::1 doesn't reach them). No address to look up or keep in step, and
 * the deadbolt receives it at its next poll. Nothing confirms delivery, so it's sent twice.
 */

#include "door_link.h"

#include <crypto/CHIPCryptoPAL.h>
#include <lib/support/CodeUtils.h>
#include <platform/CHIPDeviceLayer.h>

#include <openthread/message.h>
#include <openthread/thread.h>
#include <openthread/udp.h>

#include <zephyr/kernel.h>
#include <zephyr/logging/log.h>
#include <zephyr/settings/settings.h>
#include <zephyr/sys/byteorder.h>
#include <zephyr/sys/util.h>

#include <cerrno>
#include <cstring>

LOG_MODULE_DECLARE(app, CONFIG_CHIP_APP_LOG_LEVEL);

using namespace ::chip;
using namespace ::chip::DeviceLayer;

namespace
{
constexpr uint16_t kPort = 49513;
constexpr uint8_t kMagic[4] = { 'B', 'Z', 'D', '1' };
constexpr size_t kKeySize = 32;
constexpr size_t kTagSize = 16;
constexpr char kCounterKey[] = "doorlink/tx";

struct Packet {
	uint8_t mMagic[sizeof(kMagic)];
	uint8_t mCounter[4];
	uint8_t mTag[kTagSize];
} __packed;

BUILD_ASSERT(sizeof(CONFIG_DOOR_LINK_KEY) - 1 == kKeySize * 2, "CONFIG_DOOR_LINK_KEY must be 64 hex digits");

uint8_t sKey[kKeySize];
uint32_t sCounter = CONFIG_DOOR_LINK_COUNTER_MIN;
Packet sPacket;
otUdpSocket sSocket;
bool sReady;
struct k_work_delayable sRepeatWork;

int CounterLoaded(const char *key, size_t len, settings_read_cb read, void *arg, void * /* param */)
{
	uint32_t saved;

	if (key == nullptr && len == sizeof(saved) && read(arg, &saved, sizeof(saved)) == sizeof(saved)) {
		sCounter = MAX(sCounter, saved);
	}

	return 0;
}

/* Nothing is sent to this socket. */
void IgnoreReceive(void *, otMessage *, const otMessageInfo *) {}

void Send()
{
	ThreadStackMgr().LockThreadStack();

	otInstance *instance = ThreadStackMgrImpl().OTInstance();
	otMessage *message = otUdpNewMessage(instance, nullptr);
	otError err = OT_ERROR_NO_BUFS;

	if (message != nullptr) {
		err = otMessageAppend(message, &sPacket, sizeof(sPacket));
		if (err == OT_ERROR_NONE) {
			otMessageInfo info{};

			info.mPeerAddr = *otThreadGetRealmLocalAllThreadNodesMulticastAddress(instance);
			info.mPeerPort = kPort;
			err = otUdpSend(instance, &sSocket, message, &info);
		}
		if (err != OT_ERROR_NONE) {
			otMessageFree(message);
		}
	}

	ThreadStackMgr().UnlockThreadStack();

	if (err != OT_ERROR_NONE) {
		LOG_ERR("Door unlock not sent: %d", err);
	}
}

void RepeatHandler(struct k_work *)
{
	Send();
}
} /* namespace */

namespace DoorLink
{

int Init()
{
	if (hex2bin(CONFIG_DOOR_LINK_KEY, kKeySize * 2, sKey, sizeof(sKey)) != sizeof(sKey)) {
		LOG_ERR("CONFIG_DOOR_LINK_KEY is not hex");
		return -EINVAL;
	}

	settings_load_subtree_direct(kCounterKey, CounterLoaded, nullptr);
	k_work_init_delayable(&sRepeatWork, RepeatHandler);

	otSockAddr addr{};

	ThreadStackMgr().LockThreadStack();
	otInstance *instance = ThreadStackMgrImpl().OTInstance();
	otError err = otUdpOpen(instance, &sSocket, IgnoreReceive, nullptr);
	if (err == OT_ERROR_NONE) {
		err = otUdpBind(instance, &sSocket, &addr, OT_NETIF_THREAD);
	}
	ThreadStackMgr().UnlockThreadStack();

	if (err != OT_ERROR_NONE) {
		LOG_ERR("Door link socket: %d", err);
		return -EIO;
	}

	sReady = true;
	LOG_INF("Door link ready, counter %u", sCounter);
	return 0;
}

void SendUnlock()
{
	VerifyOrReturn(sReady);

	/* Saved first: a counter must never go out twice with different meanings after a reset. */
	const uint32_t counter = sCounter + 1;
	const int ret = settings_save_one(kCounterKey, &counter, sizeof(counter));

	if (ret) {
		LOG_ERR("Door link counter not saved: %d", ret);
		return;
	}
	sCounter = counter;

	uint8_t tag[Crypto::kSHA256_Hash_Length];
	Crypto::HMAC_sha hmac;

	memcpy(sPacket.mMagic, kMagic, sizeof(kMagic));
	sys_put_be32(counter, sPacket.mCounter);

	const CHIP_ERROR err = hmac.HMAC_SHA256(sKey, sizeof(sKey), reinterpret_cast<const uint8_t *>(&sPacket),
						offsetof(Packet, mTag), tag, sizeof(tag));

	if (err != CHIP_NO_ERROR) {
		LOG_ERR("Door link HMAC: %" CHIP_ERROR_FORMAT, err.Format());
		return;
	}
	memcpy(sPacket.mTag, tag, sizeof(sPacket.mTag));

	LOG_INF("Door unlock %u", counter);
	Send();
	k_work_schedule(&sRepeatWork, K_SECONDS(1));
}

} /* namespace DoorLink */
```

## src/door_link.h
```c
/*
 * "Buzz + door": a signed Thread UDP message that tells the apartment deadbolt to unlock. Both
 * devices are on the same Thread network, so no hub or controller is in the path.
 */

#pragma once

namespace DoorLink
{

/* Needs the Thread stack up (after Nrf::Matter::StartServer). A failure is logged and leaves the
 * plain buzz working.
 */
int Init();

/* Signs the next counter value and sends it, from the Matter thread or the app task. */
void SendUnlock();

} /* namespace DoorLink */
```
